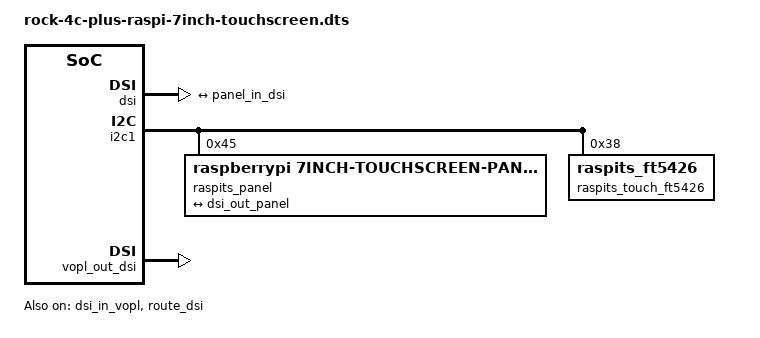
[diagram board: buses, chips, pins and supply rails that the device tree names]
/dts-v1/;
/plugin/;

/ {
	metadata {
		title = "Enable Raspberry Pi 7-inch Touchscreen";
		compatible = "radxa,rock-4c-plus";
		category = "display";
		description = "Enable Raspberry Pi 7-inch Touchscreen";
	};

	fragment@0 {
		target = <&dsi>;

		__overlay__ {
			status = "okay";
			#address-cells = <1>;
			#size-cells = <0>;
			rockchip,lane-rate = <696>;

			ports {
				#address-cells = <1>;
				#size-cells = <0>;

				port@1 {
					reg = <1>;
					dsi_out_panel: endpoint {
						remote-endpoint = <&panel_in_dsi>;
					};
				};
			};
		};
	};

	fragment@1 {
		target = <&i2c1>;

		__overlay__ {
			status = "okay";
			#address-cells = <1>;
			#size-cells = <0>;

			raspits_panel: raspits-panel@45 {
				compatible = "raspberrypi,7inch-touchscreen-panel";
				reg = <0x45>;

				port {
					panel_in_dsi: endpoint {
						remote-endpoint = <&dsi_out_panel>;
					};
				};
			};

			raspits_touch_ft5426: raspits-touch-ft5426@38 {
				compatible = "raspits_ft5426";
				reg = <0x38>;
			};
		};
	};

	fragment@2 {
		target = <&vopl_out_dsi>;

		__overlay__ {
			status = "okay";
		};
	};

	fragment@3 {
		target = <&dsi_in_vopl>;

		__overlay__ {
			status = "okay";
		};
	};

	fragment@4 {
		target = <&route_dsi>;

		__overlay__ {
			status = "okay";
			connect = <&vopl_out_dsi>;
		};
	};

	fragment@5 {
		target = <&vcc3v3_dp>;

		__overlay__ {
			status = "disabled";
		};
	};

	fragment@6 {
		target = <&virtual_pd>;

		__overlay__ {
			status = "disabled";
		};
	};

	fragment@7 {
		target = <&tcphy0>;

		__overlay__ {
			status = "disabled";
		};
	};

	fragment@8 {
		target = <&cdn_dp>;

		__overlay__ {
			status = "disabled";
		};
	};

	fragment@9 {
		target = <&tcphy0_dp>;

		__overlay__ {
			status = "disabled";
		};
	};

	fragment@10 {
		target = <&dp_in_vopl>;

		__overlay__ {
			status = "disabled";
		};
	};

	fragment@11 {
		target = <&dp_in_vopb>;

		__overlay__ {
			status = "disabled";
		};
	};
};

